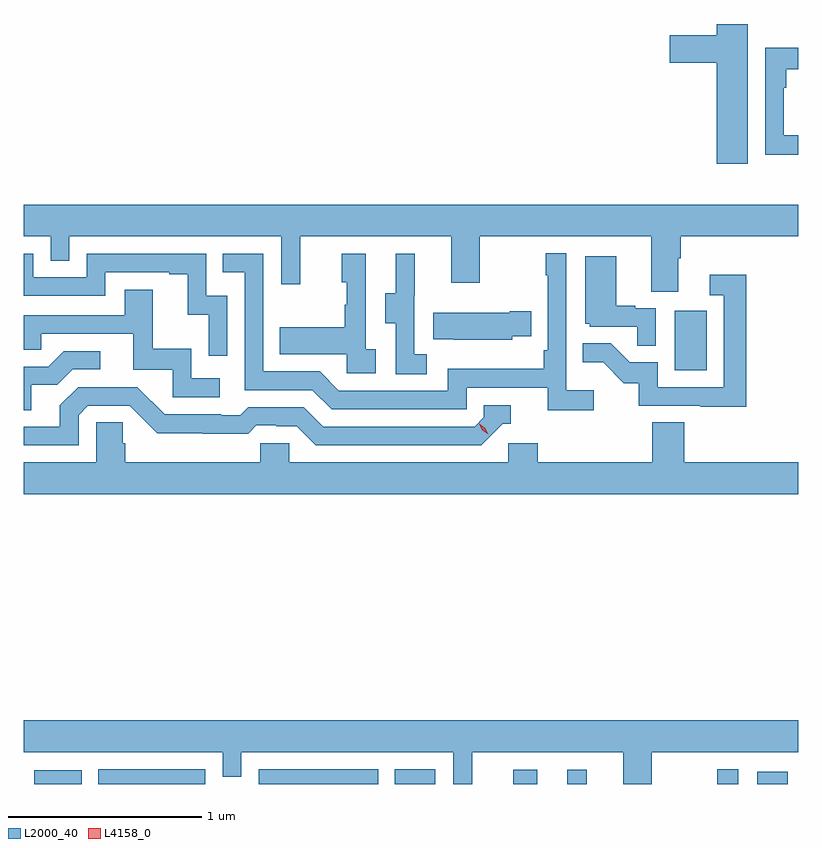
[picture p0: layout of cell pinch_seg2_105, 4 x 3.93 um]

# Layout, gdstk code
import gdstk
lib = gdstk.Library(unit=1e-6, precision=1e-09)
def R(c, l, rs):  # rectangles x0, y0, x1, y1
    for r in rs: c.add(gdstk.rectangle(r[:2], r[2:], *l))
def P(c, l, *ps):  # polygons
    for p in ps: c.add(gdstk.Polygon(p, *l))
L2000_40 = (2000, 40)
L4158_0 = (4158, 0)

pinch_seg2_105 = lib.new_cell('pinch_seg2_105')
R(pinch_seg2_105, L2000_40, [(1016.976,635.483,1017.221,635.553), (1017.306,635.483,1017.858,635.559), (1018.134,635.483,1018.752,635.559), (1018.837,635.483,1019.046,635.559), (1019.45,635.483,1019.574,635.557), (1019.729,635.483,1019.828,635.557), (1020.504,635.483,1020.612,635.56), (1020.71,635.483,1020.868,635.545), (1020.284,637.62,1020.448,637.927)])
P(pinch_seg2_105, L2000_40, [(1020.661,639.409),(1020.5,639.409),(1020.5,639.351),(1020.258,639.351),(1020.258,639.209),(1020.5,639.209),(1020.5,638.688),(1020.661,638.688)],
  [(1020.921,638.835),(1020.846,638.835),(1020.846,639.08),(1020.86,639.08),(1020.86,639.176),(1020.921,639.176),(1020.921,639.286),(1020.75,639.286),(1020.75,638.734),(1020.921,638.734)],
  [(1020.301,638.2),(1020.314,638.2),(1020.314,638.312),(1020.921,638.312),(1020.921,638.476),(1016.921,638.476),(1016.921,638.312),(1017.06,638.312),(1017.06,638.185),(1017.156,638.185),(1017.156,638.312),(1018.251,638.312),(1018.251,638.064),(1018.349,638.064),(1018.349,638.312),(1019.129,638.312),(1019.129,638.073),(1019.277,638.073),(1019.277,638.312),(1020.161,638.312),(1020.161,638.026),(1020.301,638.026)],
  [(1019.866,637.516),(1019.724,637.516),(1019.724,638.224),(1019.616,638.224),(1019.616,638.111),(1019.628,638.111),(1019.628,637.723),(1019.608,637.723),(1019.608,637.627),(1019.112,637.627),(1019.112,637.515),(1018.548,637.515),(1018.449,637.614),(1018.158,637.614),(1018.158,638.223),(1017.949,638.223),(1017.949,638.127),(1018.062,638.127),(1018.062,637.518),(1018.412,637.518),(1018.511,637.419),(1019.208,637.419),(1019.208,637.53),(1019.627,637.53),(1019.627,637.414),(1019.866,637.414)],
  [(1017.972,638.004),(1017.864,638.004),(1017.864,638.223),(1017.246,638.223),(1017.246,638.1),(1016.97,638.1),(1016.97,638.223),(1016.921,638.223),(1016.921,638.004),(1017.342,638.004),(1017.342,638.127),(1017.671,638.127),(1017.671,638.115),(1017.767,638.115),(1017.767,637.907),(1017.876,637.907),(1017.876,637.695),(1017.972,637.695)],
  [(1019.002,637.703),(1018.938,637.703),(1018.938,638.007),(1018.94,638.007),(1018.94,638.221),(1018.841,638.221),(1018.841,638.019),(1018.787,638.019),(1018.787,637.864),(1018.842,637.864),(1018.842,637.6),(1019.002,637.6)],
  [(1018.738,637.73),(1018.686,637.73),(1018.686,638.221),(1018.562,638.221),(1018.562,638.076),(1018.588,638.076),(1018.588,637.958),(1018.578,637.958),(1018.578,637.843),(1018.243,637.843),(1018.243,637.703),(1018.59,637.703),(1018.59,637.605),(1018.738,637.605)],
  [(1020.186,637.941),(1020.08,637.941),(1020.08,637.954),(1019.98,637.954),(1019.98,638.209),(1019.822,638.209),(1019.822,637.86),(1019.844,637.86),(1019.844,637.845),(1020.091,637.845),(1020.091,637.747),(1020.186,637.747)],
  [(1020.653,638.113),(1020.465,638.113),(1020.465,638.007),(1020.537,638.007),(1020.537,637.533),(1020.195,637.533),(1020.195,637.662),(1020.051,637.662),(1019.953,637.76),(1019.809,637.76),(1019.809,637.661),(1019.913,637.661),(1020.02,637.554),(1020.097,637.554),(1020.097,637.437),(1020.415,637.437),(1020.415,637.432),(1020.653,637.432)],
  [(1017.934,637.578),(1017.786,637.578),(1017.786,637.732),(1017.587,637.732),(1017.587,638.035),(1017.443,638.035),(1017.443,637.905),(1016.921,637.905),(1016.921,637.725),(1017.011,637.725),(1017.011,637.809),(1017.485,637.809),(1017.485,637.623),(1017.69,637.623),(1017.69,637.482),(1017.934,637.482)],
  [(1019.445,637.796),(1019.543,637.796),(1019.543,637.926),(1019.432,637.926),(1019.432,637.918),(1019.035,637.918),(1019.035,637.781),(1019.143,637.781),(1019.143,637.778),(1019.445,637.778)],
  [(1016.959,637.546),(1017.094,637.546),(1017.174,637.626),(1017.316,637.626),(1017.316,637.719),(1017.128,637.719),(1017.047,637.638),(1016.921,637.638),(1016.921,637.414),(1016.959,637.414)],
  [(1017.204,637.389),(1017.252,637.437),(1017.468,637.437),(1017.61,637.295),(1017.846,637.295),(1017.846,637.293),(1018.079,637.293),(1018.121,637.335),(1018.224,637.335),(1018.224,637.332),(1018.331,637.332),(1018.43,637.233),(1019.283,637.233),(1019.394,637.344),(1019.437,637.344),(1019.437,637.44),(1019.298,637.44),(1019.298,637.377),(1019.25,637.329),(1018.467,637.329),(1018.368,637.428),(1018.079,637.428),(1018.04,637.389),(1017.941,637.389),(1017.941,637.392),(1017.648,637.392),(1017.507,637.533),(1017.201,637.533),(1017.107,637.439),(1017.107,637.329),(1016.921,637.329),(1016.921,637.233),(1017.204,637.233)],
  [(1020.921,637.144),(1020.332,637.144),(1020.332,637.352),(1020.167,637.352),(1020.167,637.144),(1019.576,637.144),(1019.576,637.242),(1019.424,637.242),(1019.424,637.144),(1018.293,637.144),(1018.293,637.242),(1018.143,637.242),(1018.143,637.144),(1017.446,637.144),(1017.446,637.242),(1017.431,637.242),(1017.431,637.352),(1017.294,637.352),(1017.294,637.144),(1016.921,637.144),(1016.921,636.98),(1020.921,636.98)],
  [(1016.921,635.648),(1017.948,635.648),(1017.948,635.521),(1018.044,635.521),(1018.044,635.648),(1019.139,635.648),(1019.139,635.483),(1019.237,635.483),(1019.237,635.648),(1020.017,635.648),(1020.017,635.483),(1020.165,635.483),(1020.165,635.648),(1020.921,635.648),(1020.921,635.812),(1016.921,635.812)])
P(pinch_seg2_105, L4158_0, [(1019.319,637.289),(1019.289,637.31),(1019.274,637.342),(1019.274,637.343),(1019.274,637.343),(1019.304,637.322),(1019.319,637.29),(1019.319,637.289)])

lib.write_gds('pinch_seg2_105.gds')
